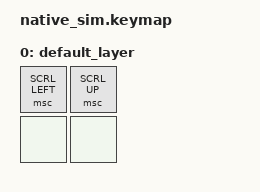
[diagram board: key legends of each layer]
#include <input/processors.dtsi>
#include <behaviors.dtsi>
#include <dt-bindings/zmk/keys.h>
#include <dt-bindings/zmk/input_mock.h>
#include <dt-bindings/zmk/pointing.h>
#include <dt-bindings/zmk/input_transform.h>

&msc_input_listener {
    input-processors = <&zip_scroll_transform (INPUT_TRANSFORM_X_INVERT | INPUT_TRANSFORM_Y_INVERT)>;
};

/ {
    keymap {
        compatible = "zmk,keymap";

        default_layer {
            bindings = <
                &msc SCRL_LEFT &msc SCRL_UP
                &none &none
            >;
        };
    };
};


&mock_input {
    events = <
        ZMK_INPUT_MOCK_PRESS(0,0,10)
        ZMK_INPUT_MOCK_PRESS(0,1,500)
        ZMK_INPUT_MOCK_RELEASE(0,0,10)
        ZMK_INPUT_MOCK_RELEASE(0,1,10)
    >;
};
